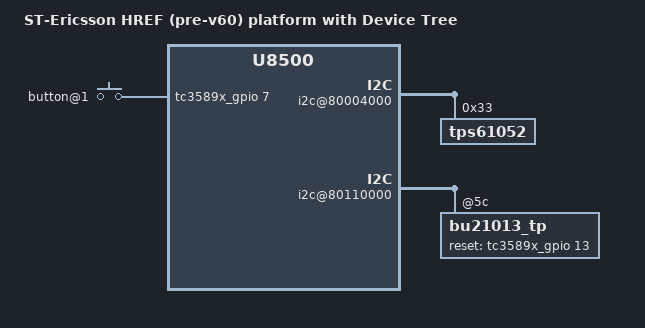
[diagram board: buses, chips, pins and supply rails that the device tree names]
/*
 * Copyright 2012 ST-Ericsson AB
 *
 * The code contained herein is licensed under the GNU General Public
 * License. You may obtain a copy of the GNU General Public License
 * Version 2 or later at the following locations:
 *
 * http://www.opensource.org/licenses/gpl-license.html
 * http://www.gnu.org/copyleft/gpl.html
 */

/dts-v1/;
#include "ste-dbx5x0.dtsi"
#include "ste-href.dtsi"
#include "ste-stuib.dtsi"

/ {
	model = "ST-Ericsson HREF (pre-v60) platform with Device Tree";
	compatible = "st-ericsson,mop500", "st-ericsson,u8500";

	gpio_keys {
		button@1 {
			gpios = <&tc3589x_gpio 7 0x4>;
		};
	};

	soc {
		prcmu@80157000 {
			ab8500@5 {
				ab8500-gpio {
					compatible = "stericsson,ab8500-gpio";
				};
			};
		};

		i2c@80004000 {
			tps61052@33 {
				compatible = "tps61052";
				reg = <0x33>;
			};
		};

		i2c@80110000 {
			bu21013_tp@5c {
				reset-gpio = <&tc3589x_gpio 13 0x4>;
			};
		};

		vmmci: regulator-gpio {
			gpios = <&tc3589x_gpio 18 0x4>;
			enable-gpio = <&tc3589x_gpio 17 0x4>;

			status = "okay";
		};
	};
};
